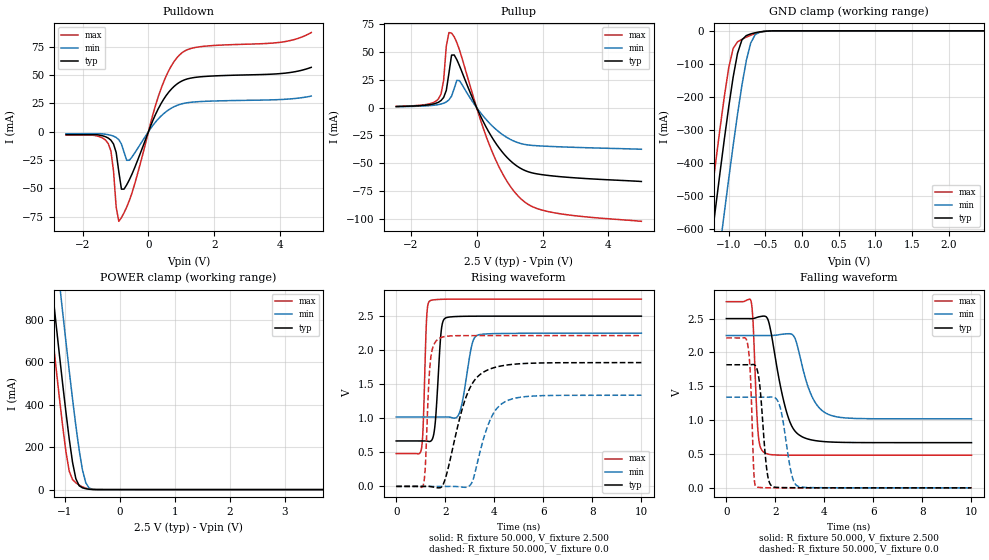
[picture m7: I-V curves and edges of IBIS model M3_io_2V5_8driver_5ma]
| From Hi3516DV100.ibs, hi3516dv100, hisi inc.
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|   Model M3_io_2V5_8driver_5ma
[Model] M3_io_2V5_8driver_5ma
Model_type I/O
Enable   Active-Low
|   typ   min   max
C_comp   2.938pF   2.844pF   3.247pF
C_comp_pullup   1.671pF   1.650pF   1.952pF
C_comp_pulldown   1.077pF   1.065pF   1.120pF
[Temperature Range]   25.000   0.125k   -40.000
[Voltage Range]   2.500V   2.250V   2.750V
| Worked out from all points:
|   slope of the pulldown table from 0 to 0.375 V, typ, clamps not added: 15.3 ohm
|   slope of the pullup table from 0 to 0.375 V, typ, clamps not added: 16.8 ohm
|   GND clamp passes 1 mA (typ) near -0.48 V on its own axis
|   POWER clamp passes 1 mA (typ) near -0.53 V on its own axis
|   rising waveform, R_fixture 50.000, V_fixture 2.500: 20-80 % time 185ps typ, 333ps min, 115ps max; typ from 0.668 V to 2.5 V
|   rising waveform, R_fixture 50.000, V_fixture 0.0: 20-80 % time 837ps typ, 707ps min, 169ps max; typ from 0 V to 1.82 V
|   falling waveform, R_fixture 50.000, V_fixture 2.500: 20-80 % time 630ps typ, 655ps min, 161ps max; typ from 2.5 V to 0.668 V
|   falling waveform, R_fixture 50.000, V_fixture 0.0: 20-80 % time 239ps typ, 349ps min, 132ps max; typ from 1.82 V to 0 V
[Pulldown]
|Voltage   I(typ)   I(min)   I(max)
-2.5V     -2.588mA   -1.879mA   -3.022mA
-1.22V    -5.687mA   -2.686mA   -10.57mA
-1.14V    -7.536mA   -3.207mA   -17.05mA
-1.06V    -10.94mA   -3.961mA   -34.86mA
-980mV    -18.41mA   -5.133mA   -66.64mA
-900mV    -35.4mA    -7.135mA   -79.22mA
-820mV    -50.84mA   -10.97mA   -76.05mA
-660mV    -47.01mA   -25.33mA   -66.65mA
-580mV    -42.55mA   -25.28mA   -60.88mA
300mV     20.36mA    11.33mA    31.13mA
940mV     43.57mA    23.95mA    67.71mA
4.94V     56.81mA    31.42mA    87.53mA
[Pullup]
|Voltage   I(typ)   I(min)   I(max)
-2.44V    916.6uA    730.9uA    1.04mA
-1.16V    4.745mA    2.663mA    7.757mA
-1V       9.113mA    3.884mA    24.59mA
-920mV    15.39mA    4.989mA    55.22mA
-840mV    30.92mA    6.848mA    67.48mA
-760mV    47.18mA    10.34mA    66.99mA
-600mV    43.05mA    24.49mA    58.48mA
-520mV    37.65mA    24.22mA    51.88mA
440mV     -25.55mA   -15.54mA   -37.54mA
1.32V     -54.49mA   -32.22mA   -81.46mA
2.28V     -61.48mA   -35.06mA   -94.3mA
5V        -66.56mA   -37.56mA   -102.4mA
[GND_clamp]
|Voltage   I(typ)   I(min)   I(max)
-2.5V     -3.009A    -3.204A    -2.893A
-1.3V     -755.4mA   -981.8mA   -619.6mA
-1.24V    -646mA     -872.5mA   -510.1mA
-1.18V    -538mA     -764.3mA   -402.5mA
-1.12V    -431.9mA   -657.3mA   -298.1mA
-1.06V    -328.9mA   -551.9mA   -199.2mA
-940mV    -140.8mA   -348.6mA   -53.39mA
-880mV    -68.26mA   -253.2mA   -33.53mA
-760mV    -14.36mA   -90.15mA   -19.21mA
-640mV    -5.898mA   -11.93mA   -8.548mA
-520mV    -1.624mA   -1.71mA    -2.149mA
2.48V     0A         0A         0A
[POWER_clamp]
|Voltage   I(typ)   I(min)   I(max)
-2.48V    4.113A     4.445A     3.916A
-1.34V    1.22A      1.563A     1.013A
-1.28V    1.072A     1.416A     865mA
-1.22V    925.6mA    1.269A     718.7mA
-1.1V     638mA      978.8mA    434.5mA
-1.04V    498.6mA    836.2mA    300.3mA
-920mV    238.2mA    558.8mA    86.51mA
-800mV    51.2mA     300.9mA    32.24mA
-680mV    8.374mA    92.98mA    12.81mA
-560mV    1.657mA    7.817mA    3.089mA
-440mV    129.7uA    341.3uA    189uA
5V        -48.94uA   -40.44nA   -88.02uA
[Ramp]
| variable   typ   min   max
dV/dt_r   1.091/0.836n   0.803/0.708n   1.328/0.171n
dV/dt_f   1.099/0.631n   0.738/0.654n   1.361/0.163n
R_load = 50.000
[Rising Waveform]
R_fixture= 50.000
V_fixture= 2.500
V_fixture_min= 2.250
V_fixture_max= 2.750
|time   V(typ)   V(min)   V(max)
0s        667.6mV    1.019V     482mV
1.022ns   667.5mV    1.019V     538.8mV
1.247ns   666.6mV    1.019V     2.508V
1.383ns   660.5mV    1.019V     2.727V
1.591ns   931.7mV    1.019V     2.742V
1.85ns    2.324V     1.019V     2.747V
2.03ns    2.477V     1.02V      2.749V
2.574ns   2.496V     1.075V     2.75V
3.324ns   2.5V       2.222V     2.75V
10ns      2.5V       2.25V      2.75V
[Rising Waveform]
R_fixture= 50.000
V_fixture= 0.0
V_fixture_min= 0.0
V_fixture_max= 0.0
|time   V(typ)   V(min)   V(max)
0s        465.5uV    0V         588uV
1.101ns   400.6uV    0V         14.46mV
1.183ns   563.2uV    -657.9nV   262.9mV
1.317ns   1.384mV    0V         1.434V
1.404ns   -2.064mV   3.043uV    1.872V
1.782ns   -20.11mV   2.148uV    2.178V
3.024ns   1.458V     21.15mV    2.214V
3.534ns   1.672V     665mV      2.214V
4.748ns   1.792V     1.287V     2.214V
10ns      1.818V     1.339V     2.214V
[Falling Waveform]
R_fixture= 50.000
V_fixture= 2.500
V_fixture_min= 2.250
V_fixture_max= 2.750
|time   V(typ)   V(min)   V(max)
0s        2.5V       2.25V      2.75V
1.006ns   2.499V     2.25V      2.758V
1.087ns   2.501V     2.25V      2.467V
1.295ns   2.523V     2.25V      815.7mV
1.57ns    2.536V     2.25V      516.7mV
2.484ns   1.088V     2.276V     482.3mV
3.068ns   759mV      1.842V     482mV
3.592ns   700.1mV    1.281V     482mV
4.29ns    676.7mV    1.068V     482mV
10ns      667.6mV    1.019V     482mV
[Falling Waveform]
R_fixture= 50.000
V_fixture= 0.0
V_fixture_min= 0.0
V_fixture_max= 0.0
|time   V(typ)   V(min)   V(max)
0s        1.818V     1.339V     2.214V
862ps     1.818V     1.339V     2.136V
976ps     1.818V     1.339V     1.7V
1.133ns   1.819V     1.339V     162.3mV
1.225ns   1.78V      1.339V     14.69mV
1.65ns    270.9mV    1.339V     1.76mV
1.893ns   18.1mV     1.343V     925.1uV
2.201ns   5.226mV    1.183V     659.6uV
2.931ns   1.794mV    22.82mV    590.5uV
10ns      465.6uV    0V         588.1uV
